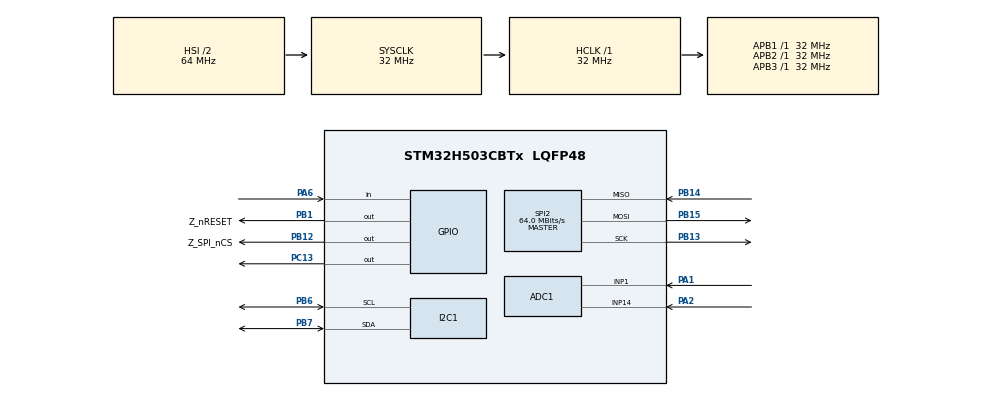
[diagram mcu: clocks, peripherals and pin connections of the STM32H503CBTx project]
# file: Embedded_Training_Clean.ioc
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ADC1.Channel-0\#ChannelRegularConversion=ADC_CHANNEL_1
ADC1.MonitoredBy-0\#ChannelRegularConversion=__NULL
ADC1.NbrOfConversionFlag=1
ADC1.OffsetNumber-0\#ChannelRegularConversion=ADC_OFFSET_NONE
ADC1.Rank-0\#ChannelRegularConversion=1
ADC1.SamplingTime-0\#ChannelRegularConversion=ADC_SAMPLETIME_2CYCLES_5
ADC1.master=1
BOOTPATH.BootPathName=LEGACY
BOOTPATH.UserSelectedBootPath=LEGACY
CORTEX_M33_NS.Number-Cortex_Memory_Protection_Unit_Region0_OTP_RO_AREAS_Settings=MPU_REGION_NUMBER0
CORTEX_M33_NS.default_mode_Activation=1
I2C1.Timing=0x00707CBB
Mcu.Family=STM32H5
Mcu.Name=STM32H503CBTx
Mcu.Package=LQFP48
NVIC.PriorityGroup=NVIC_PRIORITYGROUP_4
PA0.Signal=ADCx_INN1
PA1.Signal=ADCx_INP1
PA2.Signal=ADCx_INP14
PA6.GPIO_PuPd=GPIO_PULLDOWN
PA6.Signal=GPIO_Input
PB1.GPIO_Label=Z_nRESET
PB1.PinState=GPIO_PIN_SET
PB1.Signal=GPIO_Output
PB12.GPIO_Label=Z_SPI_nCS
PB12.PinState=GPIO_PIN_SET
PB12.Signal=GPIO_Output
PB13.Mode=Full_Duplex_Master
PB13.Signal=SPI2_SCK
PB14.Mode=Full_Duplex_Master
PB14.Signal=SPI2_MISO
PB15.Mode=Full_Duplex_Master
PB15.Signal=SPI2_MOSI
PB6.GPIO_Pu=GPIO_PULLUP
PB6.Mode=I2C
PB6.Signal=I2C1_SCL
PB7.GPIO_Pu=GPIO_PULLUP
PB7.GPIO_Speed=GPIO_SPEED_FREQ_LOW
PB7.Mode=I2C
PB7.Signal=I2C1_SDA
PC13.Signal=GPIO_Output
ProjectManager.HeapSize=0x200
ProjectManager.StackSize=0x400
ProjectManager.TargetToolchain=STM32CubeIDE
RCC.ADCFreq_Value=32000000
RCC.AHBFreq_Value=32000000
RCC.APB1Freq_Value=32000000
RCC.APB1TimFreq_Value=32000000
RCC.APB2Freq_Value=32000000
RCC.APB2TimFreq_Value=32000000
RCC.APB3Freq_Value=32000000
RCC.CSI_VALUE=4000000
RCC.CortexFreq_Value=32000000
RCC.EPOD_VALUE=4000000
RCC.HCLKFreq_Value=32000000
RCC.HSE_VALUE=25000000
RCC.HSI48_VALUE=48000000
RCC.HSI_VALUE=64000000
RCC.LSE_VALUE=32768
RCC.LSIRC_VALUE=32000
RCC.PLLFRACN=0
RCC.PLLN=32
RCC.SYSCLKFreq_VALUE=32000000
RCC.USBFreq_Value=48000000
RCC.VCOOutputFreq_Value=128000000
SH.ADCx_INN1.0=ADC1_INN1
SH.ADCx_INP1.0=ADC1_INP1,IN1-Single-Ended
SH.ADCx_INP14.0=ADC1_INP14,IN14-Single-Ended
SPI2.BaudRatePrescaler=SPI_BAUDRATEPRESCALER_BYPASS
SPI2.CalculateBaudRate=64.0 MBits/s
SPI2.DataSize=SPI_DATASIZE_8BIT
SPI2.Direction=SPI_DIRECTION_2LINES
SPI2.Mode=SPI_MODE_MASTER
SPI2.VirtualType=VM_MASTER
VP_BOOTPATH_VS_BOOTPATH.Mode=BP_Activate
VP_CORTEX_M33_NS_VS_Hclk.Mode=Hclk_Mode
VP_ICACHE_VS_ICACHE.Mode=DirectMappedCache
VP_MEMORYMAP_VS_MEMORYMAP.Mode=CurAppReg
VP_PWR_VS_LPOM.Mode=PowerOptimisation
VP_PWR_VS_SECSignals.Mode=Security/Privilege
board=custom

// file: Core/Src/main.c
/* USER CODE BEGIN Header */
/**
  ******************************************************************************
  * @file           : main.c
  * @brief          : Main program body
  ******************************************************************************
  * @attention
  *
  * Copyright (c) 2026 STMicroelectronics.
  * All rights reserved.
  *
  * This software is licensed under terms that can be found in the LICENSE file
  * in the root directory of this software component.
  * If no LICENSE file comes with this software, it is provided AS-IS.
  *
  ******************************************************************************
  */
/* USER CODE END Header */
#include "main.h"

/* USER CODE BEGIN Includes */
#include "gpio_training.h"
#include "i2c_training.h"
#include "spi_training.h"

/* USER CODE END Includes */

ADC_HandleTypeDef hadc1;

I2C_HandleTypeDef hi2c1;

SPI_HandleTypeDef hspi2;

void SystemClock_Config(void);
static void MPU_Config(void);
static void MX_GPIO_Init(void);
static void MX_ADC1_Init(void);
static void MX_I2C1_Init(void);
static void MX_ICACHE_Init(void);
static void MX_SPI2_Init(void);

int main(void)
{

  /* MCU Configuration--------------------------------------------------------*/

  /* MPU Configuration--------------------------------------------------------*/
  MPU_Config();

  /* Reset of all peripherals, Initializes the Flash interface and the Systick. */
  HAL_Init();

  /* Configure the system clock */
  SystemClock_Config();

  /* Initialize all configured peripherals */
  MX_GPIO_Init();
  MX_ADC1_Init();
  MX_I2C1_Init();
  MX_ICACHE_Init();
  MX_SPI2_Init();
  /* USER CODE BEGIN 2 */

  uint8_t xyz_data[6] = {0};

  volatile int16_t accel_x = 0;
  volatile int16_t accel_y = 0;
  volatile int16_t accel_z = 0;

  volatile HAL_StatusTypeDef xyz_status = HAL_ERROR;

  /*
   * I2C TRAINING - EXERCISE 1
   *
   * Goal:
   * Check whether the STM32 can communicate with the
   * MC3479 accelerometer using I2C.
   *
   * I2C_Training_DeviceReady() checks whether a device
   * acknowledges its address on the I2C bus.
   *
   * The function returns:
   * HAL_OK      -> Device responded successfully.
   * HAL_ERROR   -> Communication failed.
   * HAL_BUSY    -> I2C peripheral is busy.
   * HAL_TIMEOUT -> Communication timed out.
   *
   * TODO:
   * 1. Locate the MC3479 in the board schematic.
   * 2. Identify its SDA and SCL connections.
   * 3. Find the device's I2C address in the datasheet.
   * 4. Shift the 7-bit address left by one for STM32 HAL.
   * 5. Call I2C_Training_DeviceReady() with that address.
   * 6. Use the debugger to inspect i2c_status.
   */

  volatile HAL_StatusTypeDef i2c_status = HAL_ERROR;

  // TODO: Call I2C_Training_DeviceReady()
  // and store the return value in i2c_status.

  /*
   * I2C TRAINING - EXERCISE 2
   *
   * Goal:
   * Read the Chip ID register of the MC3479 accelerometer.
   *
   * Every I2C device has an address that allows the STM32
   * to communicate with it.
   *
   * Many I2C devices also contain internal registers that
   * store configuration settings, measurements, and status.
   *
   * I2C_Training_ReadRegister() reads one byte from a
   * specified register inside an I2C device.
   *
   * Parameters:
   * device_address   -> I2C address shifted left by 1.
   * register_address -> Address of the register to read.
   * data             -> Pointer to store the received byte.
   *
   * TODO:
   * 1. Find the MC3479 Chip ID register in its datasheet.
   * 2. Identify its register address.
   * 3. Find the expected value stored in this register.
   * 4. Call I2C_Training_ReadRegister() using the
   *    correct device address and register address.
   * 5. Store the received byte in chip_id.
   * 6. Use the debugger to inspect read_status and chip_id.
   * 7. Compare the received value with the datasheet.
   */

  uint8_t chip_id = 0;
  HAL_StatusTypeDef read_status = HAL_ERROR;

  if (i2c_status == HAL_OK)
  {
      // TODO: Read the Chip ID register and store
      // the return status in read_status.
  }

  // Place a breakpoint here to inspect the results.
  __NOP();

  /*
   * I2C TRAINING - EXERCISE 3
   *
   * Goal:
   * Configure the MC3479 accelerometer to begin
   * measuring acceleration.
   *
   * I2C_Training_WriteRegister() writes one byte
   * of data to a register inside an I2C device.
   *
   * The MC3479 starts in a low-power state.
   * Before reading acceleration measurements,
   * we must enable its WAKE mode.
   *
   * Parameters:
   * device_address   -> I2C device address (shifted left by 1).
   * register_address -> Address of the register to write.
   * value            -> Byte to store in that register.
   *
   * TODO:
   * 1. Find the MODE register in the MC3479 datasheet.
   * 2. Identify its register address.
   * 3. Determine which value enables WAKE mode.
   * 4. Call I2C_Training_WriteRegister() using the
   *    correct device address, register, and value.
   * 5. Store the returned HAL status in write_status.
   * 6. Use the debugger to check if the write succeeded.
   *
   * NOTE:
   * HAL_OK means the I2C write completed successfully.
   * It does not independently prove the sensor entered
   * the requested operating mode.
   */

  HAL_StatusTypeDef write_status = HAL_ERROR;

  if (read_status == HAL_OK && chip_id == 0xA4)
  {
      // TODO: Write the value that enables WAKE mode.
  }

  // Place a breakpoint here.
  __NOP();

  /* USER CODE END 2 */

  /* Infinite loop */
  /* USER CODE BEGIN WHILE */
  while (1)
  {

	  /*
	   * TODO:
	   * 1. Complete GPIO_Training_Toggle() in gpio_training.c.
	   * 2. Uncomment the two lines below.
	   * 3. Observe the LED blinking.
	   * 4. Change the delay to make it blink faster or slower.
	   *
	   * NOTE:
	   * Comment out GPIO Exercise 2 while testing this exercise.
	   */

	  // GPIO_Training_Toggle();
	  // HAL_Delay(500);

      /*
       * GPIO TRAINING - EXERCISE 2
       *
       * Goal: Use a GPIO input to control the green LED.
       *
       * GPIO_Training_ReadInput() returns:
       * GPIO_PIN_SET   -> HIGH
       * GPIO_PIN_RESET -> LOW
       *
       * TODO:
       * 1. Complete GPIO_Training_ReadInput().
       * 2. Read the input and store its state.
       * 3. Complete the if/else statement using the
       *    SetHigh() and SetLow() training functions.
       * 4. Test the LED by changing the input state.
       *
       * NOTE:
       * Comment out Exercise 1 before running this exercise.
       */

	  GPIO_PinState input_state = GPIO_PIN_RESET;

	  // TODO: Read the GPIO input using GPIO_Training_ReadInput()
	  // and store the returned value in input_state.

	  if (input_state == GPIO_PIN_SET)
	  {
	      // TODO: Turn the LED ON using the appropriate function.
	  }
	  else
	  {
	      // TODO: Turn the LED OFF using the appropriate function.
	  }

	  HAL_Delay(10);

      /*
       * I2C TRAINING - EXERCISE 4
       *
       * Goal:
       * Read X, Y, and Z acceleration data from the MC3479.
       *
       * The MC3479 stores each measurement as a signed
       * 16-bit number across two consecutive registers.
       *
       * I2C_Training_ReadBytes() allows multiple register
       * values to be read in one I2C transaction.
       *
       * The six bytes are stored in xyz_data[]:
       *
       * xyz_data[0] -> X-axis LSB
       * xyz_data[1] -> X-axis MSB
       * xyz_data[2] -> Y-axis LSB
       * xyz_data[3] -> Y-axis MSB
       * xyz_data[4] -> Z-axis LSB
       * xyz_data[5] -> Z-axis MSB
       *
       * TODO:
       * 1. Make sure the MC3479 has entered WAKE mode.
       * 2. Identify the first acceleration data register.
       * 3. Read all six bytes using I2C_Training_ReadBytes().
       * 4. Combine the LSB and MSB for each axis.
       * 5. Store the results in accel_x, accel_y and accel_z.
       * 6. Use the debugger to observe the measurements.
       * 7. Move the board and observe how the values change.
       *
       * NOTE:
       * Only process the received data if the I2C read
       * returned HAL_OK.
       *
       * /*
       * IMPORTANT:
       * Exercises 1, 2, and 3 must be completed before this
       * exercise can work.
       *
       * The accelerometer must first be detected, its
       * Chip ID verified, and WAKE mode enabled.
       */

      if (write_status == HAL_OK)
      {
          // TODO: Read the six acceleration bytes.

          if (xyz_status == HAL_OK)
          {
              // TODO: Combine bytes into accel_x, accel_y, accel_z.
          }
      }

      HAL_Delay(100);

      /*
       * SPI TRAINING - EXERCISE 1
       *
       * Goal:
       * Read the IODIRA register from the MCP23S17
       * I/O expander using SPI.
       *
       * IODIRA determines whether each GPA pin
       * operates as an input or an output.
       *
       * A bit value of 1 configures the pin as input.
       * A bit value of 0 configures the pin as output.
       *
       * After a hardware reset, the IODIRA register
       * should contain 0xFF (all eight pins are inputs).
       *
       * TODO:
       * 1. Locate the MCP23S17 in the schematic.
       * 2. Identify its SPI and Chip Select connections.
       * 3. Find the IODIRA register address in the datasheet.
       * 4. Complete SPI_Training_ReadRegister().
       * 5. Call SPI_Training_ReadRegister() using the
       *    correct register address.
       * 6. Store the return status in spi_status.
       * 7. Use the debugger to inspect spi_status
       *    and iodira_value.
       * 8. Compare the received value with the datasheet.
       *
       * NOTE:
       * The expected value of 0xFF assumes the MCP23S17
       * has been reset and not configured previously.
       */

      uint8_t iodira_value = 0;
      HAL_StatusTypeDef spi_status = HAL_ERROR;

      // TODO: Read the IODIRA register.

      // Place a breakpoint here.
      __NOP();

    /* USER CODE END WHILE */

  }
}

void SystemClock_Config(void)
{
  RCC_OscInitTypeDef RCC_OscInitStruct = {0};
  RCC_ClkInitTypeDef RCC_ClkInitStruct = {0};

  /** Configure the main internal regulator output voltage
  */
  __HAL_PWR_VOLTAGESCALING_CONFIG(PWR_REGULATOR_VOLTAGE_SCALE3);

  while(!__HAL_PWR_GET_FLAG(PWR_FLAG_VOSRDY)) {}

  /** Initializes the RCC Oscillators according to the specified parameters
  * in the RCC_OscInitTypeDef structure.
  */
  RCC_OscInitStruct.OscillatorType = RCC_OSCILLATORTYPE_HSI|RCC_OSCILLATORTYPE_CSI;
  RCC_OscInitStruct.HSIState = RCC_HSI_ON;
  RCC_OscInitStruct.HSIDiv = RCC_HSI_DIV2;
  RCC_OscInitStruct.HSICalibrationValue = RCC_HSICALIBRATION_DEFAULT;
  RCC_OscInitStruct.CSIState = RCC_CSI_ON;
  RCC_OscInitStruct.CSICalibrationValue = RCC_CSICALIBRATION_DEFAULT;
  RCC_OscInitStruct.PLL.PLLState = RCC_PLL_ON;
  RCC_OscInitStruct.PLL.PLLSource = RCC_PLL1_SOURCE_CSI;
  RCC_OscInitStruct.PLL.PLLM = 1;
  RCC_OscInitStruct.PLL.PLLN = 32;
  RCC_OscInitStruct.PLL.PLLP = 2;
  RCC_OscInitStruct.PLL.PLLQ = 2;
  RCC_OscInitStruct.PLL.PLLR = 2;
  RCC_OscInitStruct.PLL.PLLRGE = RCC_PLL1_VCIRANGE_2;
  RCC_OscInitStruct.PLL.PLLVCOSEL = RCC_PLL1_VCORANGE_WIDE;
  RCC_OscInitStruct.PLL.PLLFRACN = 0;
  if (HAL_RCC_OscConfig(&RCC_OscInitStruct) != HAL_OK)
  {
    Error_Handler();
  }

  /** Initializes the CPU, AHB and APB buses clocks
  */
  RCC_ClkInitStruct.ClockType = RCC_CLOCKTYPE_HCLK|RCC_CLOCKTYPE_SYSCLK
                              |RCC_CLOCKTYPE_PCLK1|RCC_CLOCKTYPE_PCLK2
                              |RCC_CLOCKTYPE_PCLK3;
  RCC_ClkInitStruct.SYSCLKSource = RCC_SYSCLKSOURCE_HSI;
  RCC_ClkInitStruct.AHBCLKDivider = RCC_SYSCLK_DIV1;
  RCC_ClkInitStruct.APB1CLKDivider = RCC_HCLK_DIV1;
  RCC_ClkInitStruct.APB2CLKDivider = RCC_HCLK_DIV1;
  RCC_ClkInitStruct.APB3CLKDivider = RCC_HCLK_DIV1;

  if (HAL_RCC_ClockConfig(&RCC_ClkInitStruct, FLASH_LATENCY_1) != HAL_OK)
  {
    Error_Handler();
  }

  /** Configure the programming delay
  */
  __HAL_FLASH_SET_PROGRAM_DELAY(FLASH_PROGRAMMING_DELAY_0);
}

static void MX_ADC1_Init(void)
{

  ADC_ChannelConfTypeDef sConfig = {0};

  /** Common config
  */
  hadc1.Instance = ADC1;
  hadc1.Init.ClockPrescaler = ADC_CLOCK_ASYNC_DIV1;
  hadc1.Init.Resolution = ADC_RESOLUTION_12B;
  hadc1.Init.DataAlign = ADC_DATAALIGN_RIGHT;
  hadc1.Init.ScanConvMode = ADC_SCAN_DISABLE;
  hadc1.Init.EOCSelection = ADC_EOC_SINGLE_CONV;
  hadc1.Init.LowPowerAutoWait = DISABLE;
  hadc1.Init.ContinuousConvMode = DISABLE;
  hadc1.Init.NbrOfConversion = 1;
  hadc1.Init.DiscontinuousConvMode = DISABLE;
  hadc1.Init.ExternalTrigConv = ADC_SOFTWARE_START;
  hadc1.Init.ExternalTrigConvEdge = ADC_EXTERNALTRIGCONVEDGE_NONE;
  hadc1.Init.DMAContinuousRequests = DISABLE;
  hadc1.Init.SamplingMode = ADC_SAMPLING_MODE_NORMAL;
  hadc1.Init.Overrun = ADC_OVR_DATA_PRESERVED;
  hadc1.Init.OversamplingMode = DISABLE;
  if (HAL_ADC_Init(&hadc1) != HAL_OK)
  {
    Error_Handler();
  }

  /** Configure Regular Channel
  */
  sConfig.Channel = ADC_CHANNEL_1;
  sConfig.Rank = ADC_REGULAR_RANK_1;
  sConfig.SamplingTime = ADC_SAMPLETIME_2CYCLES_5;
  sConfig.SingleDiff = ADC_SINGLE_ENDED;
  sConfig.OffsetNumber = ADC_OFFSET_NONE;
  sConfig.Offset = 0;
  if (HAL_ADC_ConfigChannel(&hadc1, &sConfig) != HAL_OK)
  {
    Error_Handler();
  }

}

static void MX_I2C1_Init(void)
{

  hi2c1.Instance = I2C1;
  hi2c1.Init.Timing = 0x00707CBB;
  hi2c1.Init.OwnAddress1 = 0;
  hi2c1.Init.AddressingMode = I2C_ADDRESSINGMODE_7BIT;
  hi2c1.Init.DualAddressMode = I2C_DUALADDRESS_DISABLE;
  hi2c1.Init.OwnAddress2 = 0;
  hi2c1.Init.OwnAddress2Masks = I2C_OA2_NOMASK;
  hi2c1.Init.GeneralCallMode = I2C_GENERALCALL_DISABLE;
  hi2c1.Init.NoStretchMode = I2C_NOSTRETCH_DISABLE;
  if (HAL_I2C_Init(&hi2c1) != HAL_OK)
  {
    Error_Handler();
  }

  /** Configure Analogue filter
  */
  if (HAL_I2CEx_ConfigAnalogFilter(&hi2c1, I2C_ANALOGFILTER_ENABLE) != HAL_OK)
  {
    Error_Handler();
  }

  /** Configure Digital filter
  */
  if (HAL_I2CEx_ConfigDigitalFilter(&hi2c1, 0) != HAL_OK)
  {
    Error_Handler();
  }

}

static void MX_ICACHE_Init(void)
{

  /** Enable instruction cache in 1-way (direct mapped cache)
  */
  if (HAL_ICACHE_ConfigAssociativityMode(ICACHE_1WAY) != HAL_OK)
  {
    Error_Handler();
  }
  if (HAL_ICACHE_Enable() != HAL_OK)
  {
    Error_Handler();
  }

}

static void MX_SPI2_Init(void)
{

  /* SPI2 parameter configuration*/
  hspi2.Instance = SPI2;
  hspi2.Init.Mode = SPI_MODE_MASTER;
  hspi2.Init.Direction = SPI_DIRECTION_2LINES;
  hspi2.Init.DataSize = SPI_DATASIZE_8BIT;
  hspi2.Init.CLKPolarity = SPI_POLARITY_LOW;
  hspi2.Init.CLKPhase = SPI_PHASE_1EDGE;
  hspi2.Init.NSS = SPI_NSS_SOFT;
  hspi2.Init.BaudRatePrescaler = SPI_BAUDRATEPRESCALER_BYPASS;
  hspi2.Init.FirstBit = SPI_FIRSTBIT_MSB;
  hspi2.Init.TIMode = SPI_TIMODE_DISABLE;
  hspi2.Init.CRCCalculation = SPI_CRCCALCULATION_DISABLE;
  hspi2.Init.CRCPolynomial = 0x7;
  hspi2.Init.NSSPMode = SPI_NSS_PULSE_ENABLE;
  hspi2.Init.NSSPolarity = SPI_NSS_POLARITY_LOW;
  hspi2.Init.FifoThreshold = SPI_FIFO_THRESHOLD_01DATA;
  hspi2.Init.MasterSSIdleness = SPI_MASTER_SS_IDLENESS_00CYCLE;
  hspi2.Init.MasterInterDataIdleness = SPI_MASTER_INTERDATA_IDLENESS_00CYCLE;
  hspi2.Init.MasterReceiverAutoSusp = SPI_MASTER_RX_AUTOSUSP_DISABLE;
  hspi2.Init.MasterKeepIOState = SPI_MASTER_KEEP_IO_STATE_DISABLE;
  hspi2.Init.IOSwap = SPI_IO_SWAP_DISABLE;
  hspi2.Init.ReadyMasterManagement = SPI_RDY_MASTER_MANAGEMENT_INTERNALLY;
  hspi2.Init.ReadyPolarity = SPI_RDY_POLARITY_HIGH;
  if (HAL_SPI_Init(&hspi2) != HAL_OK)
  {
    Error_Handler();
  }

}

static void MX_GPIO_Init(void)
{
  GPIO_InitTypeDef GPIO_InitStruct = {0};

  /* GPIO Ports Clock Enable */
  __HAL_RCC_GPIOC_CLK_ENABLE();
  __HAL_RCC_GPIOA_CLK_ENABLE();
  __HAL_RCC_GPIOB_CLK_ENABLE();

  /*Configure GPIO pin Output Level */
  HAL_GPIO_WritePin(GPIOC, GPIO_PIN_13, GPIO_PIN_RESET);

  /*Configure GPIO pin Output Level */
  HAL_GPIO_WritePin(GPIOB, Z_nRESET_Pin|Z_SPI_nCS_Pin, GPIO_PIN_SET);

  /*Configure GPIO pin : PC13 */
  GPIO_InitStruct.Pin = GPIO_PIN_13;
  GPIO_InitStruct.Mode = GPIO_MODE_OUTPUT_PP;
  GPIO_InitStruct.Pull = GPIO_NOPULL;
  GPIO_InitStruct.Speed = GPIO_SPEED_FREQ_LOW;
  HAL_GPIO_Init(GPIOC, &GPIO_InitStruct);

  /*Configure GPIO pin : PA6 */
  GPIO_InitStruct.Pin = GPIO_PIN_6;
  GPIO_InitStruct.Mode = GPIO_MODE_INPUT;
  GPIO_InitStruct.Pull = GPIO_PULLDOWN;
  HAL_GPIO_Init(GPIOA, &GPIO_InitStruct);

  /*Configure GPIO pins : Z_nRESET_Pin Z_SPI_nCS_Pin */
  GPIO_InitStruct.Pin = Z_nRESET_Pin|Z_SPI_nCS_Pin;
  GPIO_InitStruct.Mode = GPIO_MODE_OUTPUT_PP;
  GPIO_InitStruct.Pull = GPIO_NOPULL;
  GPIO_InitStruct.Speed = GPIO_SPEED_FREQ_LOW;
  HAL_GPIO_Init(GPIOB, &GPIO_InitStruct);

}

 /* MPU Configuration */

void MPU_Config(void)
{
  MPU_Region_InitTypeDef MPU_InitStruct = {0};
  MPU_Attributes_InitTypeDef MPU_AttributesInit = {0};

  /* Disables the MPU */
  HAL_MPU_Disable();

  /** Initializes and configures the Region 0 and the memory to be protected
  */
  MPU_InitStruct.Enable = MPU_REGION_ENABLE;
  MPU_InitStruct.Number = MPU_REGION_NUMBER0;
  MPU_InitStruct.BaseAddress = 0x08FFF000;
  MPU_InitStruct.LimitAddress = 0x08FFFFFF;
  MPU_InitStruct.AttributesIndex = MPU_ATTRIBUTES_NUMBER0;
  MPU_InitStruct.AccessPermission = MPU_REGION_ALL_RO;
  MPU_InitStruct.DisableExec = MPU_INSTRUCTION_ACCESS_DISABLE;
  MPU_InitStruct.IsShareable = MPU_ACCESS_NOT_SHAREABLE;

  HAL_MPU_ConfigRegion(&MPU_InitStruct);

  /** Initializes and configures the Attribute 0 and the memory to be protected
  */
  MPU_AttributesInit.Number = MPU_ATTRIBUTES_NUMBER0;
  MPU_AttributesInit.Attributes = INNER_OUTER(MPU_NOT_CACHEABLE);

  HAL_MPU_ConfigMemoryAttributes(&MPU_AttributesInit);
  /* Enables the MPU */
  HAL_MPU_Enable(MPU_PRIVILEGED_DEFAULT);

}

void Error_Handler(void)
{
  __disable_irq();
  while (1)
  {
  }
}
